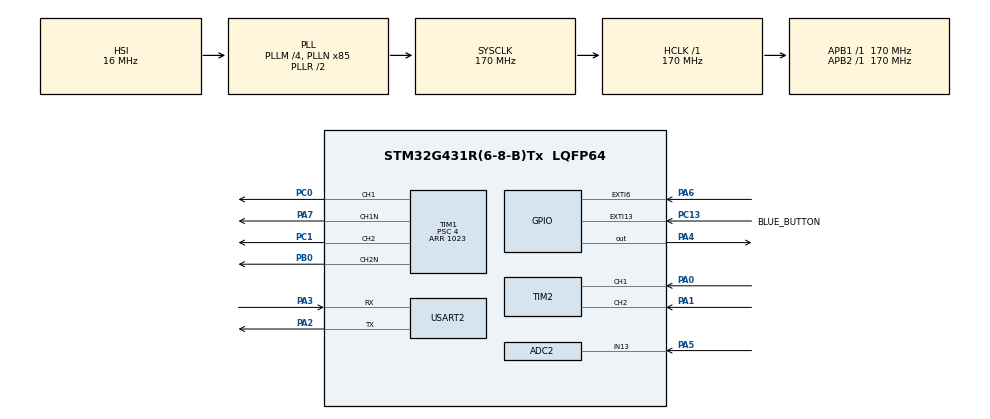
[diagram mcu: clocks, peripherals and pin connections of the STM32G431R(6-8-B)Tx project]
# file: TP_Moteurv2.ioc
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ADC2.Channel-0\#ChannelRegularConversion=ADC_CHANNEL_13
ADC2.ContinuousConvMode=ENABLE
ADC2.DMAContinuousRequests=ENABLE
ADC2.NbrOfConversionFlag=1
ADC2.OffsetNumber-0\#ChannelRegularConversion=ADC_OFFSET_NONE
ADC2.Rank-0\#ChannelRegularConversion=1
ADC2.SamplingTime-0\#ChannelRegularConversion=ADC_SAMPLETIME_2CYCLES_5
Dma.ADC2.0.Direction=DMA_PERIPH_TO_MEMORY
Dma.ADC2.0.EventEnable=DISABLE
Dma.ADC2.0.Instance=DMA1_Channel1
Dma.ADC2.0.MemDataAlignment=DMA_MDATAALIGN_HALFWORD
Dma.ADC2.0.MemInc=DMA_MINC_ENABLE
Dma.ADC2.0.Mode=DMA_NORMAL
Dma.ADC2.0.PeriphDataAlignment=DMA_PDATAALIGN_HALFWORD
Dma.ADC2.0.PeriphInc=DMA_PINC_DISABLE
Dma.ADC2.0.Polarity=HAL_DMAMUX_REQ_GEN_RISING
Dma.ADC2.0.Priority=DMA_PRIORITY_LOW
Dma.ADC2.0.RequestNumber=1
Dma.ADC2.0.SignalID=NONE
Dma.ADC2.0.SyncEnable=DISABLE
Dma.ADC2.0.SyncPolarity=HAL_DMAMUX_SYNC_NO_EVENT
Dma.ADC2.0.SyncRequestNumber=1
Dma.ADC2.0.SyncSignalID=NONE
Dma.Request0=ADC2
Mcu.Family=STM32G4
Mcu.Name=STM32G431R(6-8-B)Tx
Mcu.Package=LQFP64
NVIC.DMA1_Channel1_IRQn=true\:0\:0\:false\:false\:true\:false\:true
NVIC.EXTI15_10_IRQn=true\:0\:0\:false\:false\:true\:true\:true
NVIC.EXTI9_5_IRQn=true\:0\:0\:false\:false\:true\:true\:true
NVIC.PriorityGroup=NVIC_PRIORITYGROUP_4
NVIC.TIM1_UP_TIM16_IRQn=true\:0\:0\:false\:false\:true\:true\:true
NVIC.USART2_IRQn=true\:0\:0\:false\:false\:true\:true\:true
PA0.Signal=S_TIM2_CH1
PA1.Signal=S_TIM2_CH2
PA13.Mode=Serial_Wire
PA13.Signal=SYS_JTMS-SWDIO
PA14.Mode=Serial_Wire
PA14.Signal=SYS_JTCK-SWCLK
PA2.Mode=Asynchronous
PA2.Signal=USART2_TX
PA3.Mode=Asynchronous
PA3.Signal=USART2_RX
PA4.Signal=GPIO_Output
PA5.Mode=IN13-Single-Ended
PA5.Signal=ADC2_IN13
PA6.Signal=GPXTI6
PA7.Mode=PWM Generation1 CH1 CH1N
PA7.Signal=TIM1_CH1N
PB0.Mode=PWM Generation2 CH2 CH2N
PB0.Signal=TIM1_CH2N
PC0.Signal=S_TIM1_CH1
PC1.Signal=S_TIM1_CH2
PC13.GPIO_Label=BLUE_BUTTON
PC13.GPIO_ModeDefaultEXTI=GPIO_MODE_IT_FALLING
PC13.Signal=GPXTI13
PF0-OSC_IN.Mode=HSE-External-Oscillator
PF0-OSC_IN.Signal=RCC_OSC_IN
PF1-OSC_OUT.Mode=HSE-External-Oscillator
PF1-OSC_OUT.Signal=RCC_OSC_OUT
ProjectManager.HeapSize=0x200
ProjectManager.StackSize=0x400
ProjectManager.TargetToolchain=STM32CubeIDE
RCC.ADC12Freq_Value=170000000
RCC.AHBFreq_Value=170000000
RCC.APB1Freq_Value=170000000
RCC.APB1TimFreq_Value=170000000
RCC.APB2Freq_Value=170000000
RCC.APB2TimFreq_Value=170000000
RCC.CortexFreq_Value=170000000
RCC.EXTERNAL_CLOCK_VALUE=12288000
RCC.HCLKFreq_Value=170000000
RCC.HSE_VALUE=8000000
RCC.HSI48_VALUE=48000000
RCC.HSI_VALUE=16000000
RCC.LSE_VALUE=32768
RCC.PLLM=RCC_PLLM_DIV4
RCC.PLLN=85
RCC.SYSCLKFreq_VALUE=170000000
RCC.SYSCLKSource=RCC_SYSCLKSOURCE_PLLCLK
RCC.USBFreq_Value=170000000
RCC.VCOOutputFreq_Value=340000000
SH.S_TIM1_CH1.0=TIM1_CH1,PWM Generation1 CH1 CH1N
SH.S_TIM1_CH2.0=TIM1_CH2,PWM Generation2 CH2 CH2N
SH.S_TIM2_CH1.0=TIM2_CH1,Encoder_Interface
SH.S_TIM2_CH2.0=TIM2_CH2,Encoder_Interface
TIM1.Channel-PWM\ Generation1\ CH1\ CH1N=TIM_CHANNEL_1
TIM1.Channel-PWM\ Generation2\ CH2\ CH2N=TIM_CHANNEL_2
TIM1.CounterMode=TIM_COUNTERMODE_CENTERALIGNED1
TIM1.DeadTime=203
TIM1.PeriodNoDither=1023
TIM1.Prescaler=4
TIM1.PulseNoDither_2=2656
TIM3.PeriodNoDither=9999
TIM3.Prescaler=16999
USART2.VirtualMode-Asynchronous=VM_ASYNC
VP_SYS_VS_DBSignals.Mode=DisableDeadBatterySignals
VP_TIM3_VS_ClockSourceINT.Mode=Internal
board=custom

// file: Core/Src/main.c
/* USER CODE BEGIN Header */
/**
 ******************************************************************************
 * @file           : main.c
 * @brief          : Main program body
 ******************************************************************************
 * @attention
 *
 * <h2><center>&copy; Copyright (c) 2021 STMicroelectronics.
 * All rights reserved.</center></h2>
 *
 * This software component is licensed by ST under BSD 3-Clause license,
 * the "License"; You may not use this file except in compliance with the
 * License. You may obtain a copy of the License at:
 *                        opensource.org/licenses/BSD-3-Clause
 *
 ******************************************************************************
 */
/* USER CODE END Header */
#include "main.h"
#include "adc.h"
#include "tim.h"
#include "usart.h"
#include "gpio.h"

/* USER CODE BEGIN PV */
char echo[1];
int uart_it = 0;
int exti_it = 0;
int sec_it = 0;
int i = 0;
int ON=0;
char Commande[100];
int vitesse;
/* USER CODE END PV */

void SystemClock_Config(void);

/* USER CODE BEGIN 0 */
int __io_putchar(int ch) {
	HAL_UART_Transmit(&huart2, (uint8_t *)&ch, 1, HAL_MAX_DELAY);
	return ch;
}

/* USER CODE END 0 */

int main(void)
{

  /* MCU Configuration--------------------------------------------------------*/

  /* Reset of all peripherals, Initializes the Flash interface and the Systick. */
  HAL_Init();

  /* Configure the system clock */
  SystemClock_Config();

  /* Initialize all configured peripherals */
  MX_GPIO_Init();
  MX_USART2_UART_Init();
  MX_TIM1_Init();
  MX_TIM2_Init();
  MX_ADC2_Init();
  MX_TIM3_Init();
  /* USER CODE BEGIN 2 */
	printf("\r\n========== TP1 : Actionneurs ==========\r\n");
	printf("Entrer help pour afficher toutes les commandes disponibles\r\n");
  /* USER CODE END 2 */

  /* Infinite loop */
  /* USER CODE BEGIN WHILE */
	HAL_TIM_Base_Start_IT(&htim3);
	HAL_TIM_Encoder_Start(&htim2,TIM_CHANNEL_ALL);
	HAL_GPIO_WritePin(GPIOA, GPIO_PIN_4, GPIO_PIN_RESET);
	HAL_UART_Receive_IT(&huart2, (uint8_t *) echo, 1);
	Ligne_Init(&huart2);
	//Ligne_Init(&huart6);
	while (1)
	{
		/*if (sec_it==1){
			vitesse=TIM2->CNT;
			printf("La vitesse est %d pulse/sec\r\n", vitesse);
			TIM2->CNT=0;
			Ligne_Init(&huart2);
			sec_it=0;
		}*/
		if (exti_it==1){
			if(ON==0){
				printf("\r\nPower ON\r\n");
				Start();
			}else{
				printf("\r\nPower OFF\r\n");
				Stop();
			}
			i=0;
			Ligne_Init(&huart2);
			exti_it=0;
		}
		if (uart_it==1)
		{
			HAL_UART_Transmit(&huart2, (uint8_t *) echo, 1, 0xFFFF);
			//HAL_UART_Transmit(&huart6, (uint8_t *) echo, 1, 0xFFFF);
			//Exécution de la commande après appui sur la touche entrer
			if (echo[0]==ENTER){
				Commande_exec(i);
				i=0;
				Ligne_Init(&huart2);
				//Ligne_Init(&huart6);
			}else{
				//Suppression d'un caractère après appui sur la touche delete
				if((echo[0]==DEL)&&(i>0)){
					Commande[i-1]=0;
					i=i-1;
				}else{
					//Ecriture de la commande dans un buffer
					Commande[i]= echo[0];
					i=i+1;
				}
			}
			uart_it=0;
		}
    /* USER CODE END WHILE */

	}
}

void SystemClock_Config(void)
{
  RCC_OscInitTypeDef RCC_OscInitStruct = {0};
  RCC_ClkInitTypeDef RCC_ClkInitStruct = {0};
  RCC_PeriphCLKInitTypeDef PeriphClkInit = {0};

  /** Configure the main internal regulator output voltage
  */
  HAL_PWREx_ControlVoltageScaling(PWR_REGULATOR_VOLTAGE_SCALE1_BOOST);
  /** Initializes the RCC Oscillators according to the specified parameters
  * in the RCC_OscInitTypeDef structure.
  */
  RCC_OscInitStruct.OscillatorType = RCC_OSCILLATORTYPE_HSI;
  RCC_OscInitStruct.HSIState = RCC_HSI_ON;
  RCC_OscInitStruct.HSICalibrationValue = RCC_HSICALIBRATION_DEFAULT;
  RCC_OscInitStruct.PLL.PLLState = RCC_PLL_ON;
  RCC_OscInitStruct.PLL.PLLSource = RCC_PLLSOURCE_HSI;
  RCC_OscInitStruct.PLL.PLLM = RCC_PLLM_DIV4;
  RCC_OscInitStruct.PLL.PLLN = 85;
  RCC_OscInitStruct.PLL.PLLP = RCC_PLLP_DIV2;
  RCC_OscInitStruct.PLL.PLLQ = RCC_PLLQ_DIV2;
  RCC_OscInitStruct.PLL.PLLR = RCC_PLLR_DIV2;
  if (HAL_RCC_OscConfig(&RCC_OscInitStruct) != HAL_OK)
  {
    Error_Handler();
  }
  /** Initializes the CPU, AHB and APB buses clocks
  */
  RCC_ClkInitStruct.ClockType = RCC_CLOCKTYPE_HCLK|RCC_CLOCKTYPE_SYSCLK
                              |RCC_CLOCKTYPE_PCLK1|RCC_CLOCKTYPE_PCLK2;
  RCC_ClkInitStruct.SYSCLKSource = RCC_SYSCLKSOURCE_PLLCLK;
  RCC_ClkInitStruct.AHBCLKDivider = RCC_SYSCLK_DIV1;
  RCC_ClkInitStruct.APB1CLKDivider = RCC_HCLK_DIV1;
  RCC_ClkInitStruct.APB2CLKDivider = RCC_HCLK_DIV1;

  if (HAL_RCC_ClockConfig(&RCC_ClkInitStruct, FLASH_LATENCY_4) != HAL_OK)
  {
    Error_Handler();
  }
  /** Initializes the peripherals clocks
  */
  PeriphClkInit.PeriphClockSelection = RCC_PERIPHCLK_USART2|RCC_PERIPHCLK_ADC12;
  PeriphClkInit.Usart2ClockSelection = RCC_USART2CLKSOURCE_PCLK1;
  PeriphClkInit.Adc12ClockSelection = RCC_ADC12CLKSOURCE_SYSCLK;
  if (HAL_RCCEx_PeriphCLKConfig(&PeriphClkInit) != HAL_OK)
  {
    Error_Handler();
  }
}

/* USER CODE BEGIN 4 */
void HAL_UART_RxCpltCallback(UART_HandleTypeDef* huart)
{
	uart_it=1;
	HAL_UART_Receive_IT(&huart2, (uint8_t *) echo, 1);
}

/*
void HAL_GPIO_EXTI_Falling_Callback(uint16_t GPIO_Pin)
{
	exti_it=1;
}
 */
/* USER CODE END 4 */

void Error_Handler(void)
{
	__disable_irq();
	while (1)
	{
	}
}

/************************ (C) COPYRIGHT STMicroelectronics *****END OF FILE****/
